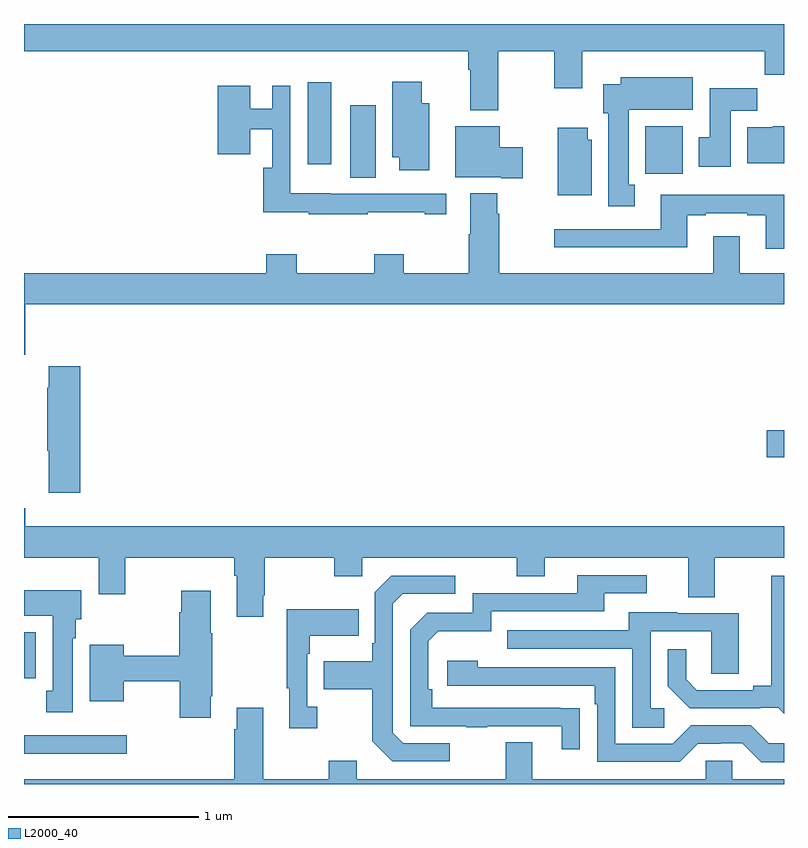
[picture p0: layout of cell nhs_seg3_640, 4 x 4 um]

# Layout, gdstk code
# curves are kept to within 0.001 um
import gdstk
lib = gdstk.Library(unit=1e-6, precision=1e-09)
def R(c, l, rs):  # rectangles x0, y0, x1, y1
    for r in rs: c.add(gdstk.rectangle(r[:2], r[2:], *l))
def P(c, l, *ps):  # polygons
    for p in ps: c.add(gdstk.Polygon(p, *l))
L2000_40 = (2000, 40)

nhs_seg3_640 = lib.new_cell('nhs_seg3_640')
R(nhs_seg3_640, L2000_40, [(143,690.56,143.542,690.657), (143,690.956,143.062,691.198), (146.91,692.119,147,692.261), (144.716,693.592,144.85,693.973), (146.271,693.612,146.467,693.862), (144.494,693.663,144.616,694.093)])
P(nhs_seg3_640, L2000_40, [(143,694.256),(145.337,694.256),(145.337,694.16),(145.349,694.16),(145.349,693.947),(145.497,693.947),(145.497,694.256),(145.792,694.256),(145.792,694.062),(145.939,694.062),(145.939,694.256),(146.899,694.256),(146.899,694.132),(147,694.132),(147,694.4),(143,694.4)],
  [(146.215,693.553),(146.182,693.553),(146.182,693.95),(146.521,693.95),(146.521,694.12),(146.141,694.12),(146.141,694.084),(146.048,694.084),(146.048,693.93),(146.075,693.93),(146.075,693.441),(146.215,693.441)],
  [(145.132,693.982),(145.093,693.982),(145.093,694.096),(144.938,694.096),(144.938,693.698),(144.974,693.698),(144.974,693.63),(145.132,693.63)],
  [(144.809,693.409),(145.109,693.409),(145.109,693.399),(145.222,693.399),(145.222,693.507),(144.612,693.507),(144.612,693.508),(144.402,693.508),(144.402,694.075),(144.306,694.075),(144.306,693.955),(144.19,693.955),(144.19,694.075),(144.02,694.075),(144.02,693.714),(144.19,693.714),(144.19,693.845),(144.306,693.845),(144.306,693.643),(144.26,693.643),(144.26,693.409),(144.499,693.409),(144.499,693.399),(144.809,693.399)],
  [(146.719,693.944),(146.858,693.944),(146.858,694.062),(146.609,694.062),(146.609,693.804),(146.552,693.804),(146.552,693.648),(146.719,693.648)],
  [(147,693.862),(146.94,693.862),(146.94,693.856),(146.807,693.856),(146.807,693.668),(147,693.668)],
  [(145.624,693.751),(145.504,693.751),(145.504,693.862),(145.271,693.862),(145.271,693.593),(145.511,693.593),(145.511,693.587),(145.624,693.587)],
  [(145.987,693.792),(145.966,693.792),(145.966,693.853),(145.808,693.853),(145.808,693.5),(145.987,693.5)],
  [(143.006,692.924),(147,692.924),(147,693.088),(146.767,693.088),(146.767,693.283),(146.627,693.283),(146.627,693.088),(145.502,693.088),(145.502,693.401),(145.492,693.401),(145.492,693.508),(145.349,693.508),(145.349,693.293),(145.342,693.293),(145.342,693.088),(144.999,693.088),(144.999,693.187),(144.844,693.187),(144.844,693.088),(144.435,693.088),(144.435,693.187),(144.275,693.187),(144.275,693.088),(143,693.088),(143,692.659),(143.006,692.659)],
  [(147,693.502),(146.351,693.502),(146.351,693.321),(145.791,693.321),(145.791,693.224),(146.491,693.224),(146.491,693.393),(146.587,693.393),(146.587,693.405),(146.807,693.405),(146.807,693.393),(146.903,693.393),(146.903,693.216),(147,693.216)],
  [(143.297,692.599),(143.129,692.599),(143.129,692.486),(143.122,692.486),(143.122,692.155),(143.129,692.155),(143.129,691.932),(143.297,691.932)],
  [(143.006,691.852),(143,691.852),(143,691.592),(143.393,691.592),(143.393,691.398),(143.533,691.398),(143.533,691.592),(144.107,691.592),(144.107,691.496),(144.119,691.496),(144.119,691.281),(144.259,691.281),(144.259,691.393),(144.267,691.393),(144.267,691.592),(144.634,691.592),(144.634,691.493),(144.78,691.493),(144.78,691.592),(145.594,691.592),(145.594,691.493),(145.741,691.493),(145.741,691.592),(146.495,691.592),(146.495,691.384),(146.635,691.384),(146.635,691.592),(147,691.592),(147,691.756),(143.006,691.756)],
  [(145.925,690.8),(145.148,690.801),(145.148,690.898),(145.128,690.898),(145.128,691.152),(145.181,691.205),(145.458,691.205),(145.458,691.308),(146.053,691.308),(146.053,691.404),(146.278,691.404),(146.278,691.5),(145.913,691.5),(145.913,691.404),(145.362,691.404),(145.362,691.302),(145.122,691.302),(145.032,691.212),(145.032,690.705),(145.327,690.705),(145.327,690.7),(145.439,690.7),(145.439,690.705),(145.829,690.705),(145.829,690.582),(145.925,690.582)],
  [(147,691.497),(146.933,691.497),(146.933,690.917),(146.837,690.917),(146.837,690.894),(146.542,690.894),(146.485,690.951),(146.485,691.108),(146.388,691.108),(146.388,690.914),(146.504,690.798),(146.876,690.798),(146.876,690.801),(146.97,690.801),(147,690.771)],
  [(145.24,690.615),(144.996,690.615),(144.942,690.669),(144.942,691.35),(144.993,691.401),(145.27,691.401),(145.27,691.497),(144.933,691.497),(144.846,691.41),(144.846,691.141),(144.834,691.141),(144.834,691.045),(144.577,691.045),(144.577,690.898),(144.834,690.898),(144.834,690.625),(144.939,690.519),(145.24,690.519)],
  [(143.257,691.166),(143.272,691.166),(143.272,691.266),(143.302,691.266),(143.302,691.42),(143,691.42),(143,691.286),(143.15,691.286),(143.15,690.89),(143.117,690.89),(143.117,690.777),(143.257,690.777)],
  [(143.983,690.862),(143.991,690.862),(143.991,691.193),(143.983,691.193),(143.983,691.417),(143.828,691.417),(143.828,691.304),(143.816,691.304),(143.816,691.076),(143.524,691.076),(143.524,691.132),(143.345,691.132),(143.345,690.836),(143.524,690.836),(143.524,690.94),(143.821,690.94),(143.821,690.75),(143.983,690.75)],
  [(144.544,690.806),(144.492,690.806),(144.492,691.085),(144.505,691.085),(144.505,691.181),(144.761,691.181),(144.761,691.321),(144.384,691.321),(144.384,690.905),(144.395,690.905),(144.395,690.693),(144.544,690.693)],
  [(146.371,690.798),(146.298,690.798),(146.298,691.203),(146.616,691.203),(146.616,690.979),(146.761,690.979),(146.761,691.299),(146.437,691.299),(146.437,691.303),(146.183,691.303),(146.183,691.209),(145.543,691.209),(145.543,691.113),(146.202,691.113),(146.202,690.697),(146.371,690.697)],
  [(147,690.615),(146.919,690.615),(146.826,690.708),(146.511,690.708),(146.415,690.612),(146.112,690.612),(146.112,691.014),(145.388,691.014),(145.388,691.048),(145.227,691.048),(145.227,690.918),(146.003,690.918),(146.003,690.821),(146.016,690.821),(146.016,690.516),(146.451,690.516),(146.547,690.612),(146.666,690.612),(146.666,690.615),(146.781,690.615),(146.881,690.515),(147,690.515)],
  [(147,690.424),(146.727,690.424),(146.727,690.522),(146.589,690.522),(146.589,690.424),(145.675,690.424),(145.675,690.619),(145.535,690.619),(145.535,690.424),(144.751,690.424),(144.751,690.523),(144.604,690.523),(144.604,690.424),(144.259,690.424),(144.259,690.802),(144.119,690.802),(144.119,690.689),(144.107,690.689),(144.107,690.424),(143,690.424),(143,690.4),(147,690.4)])

lib.write_gds('nhs_seg3_640.gds')
